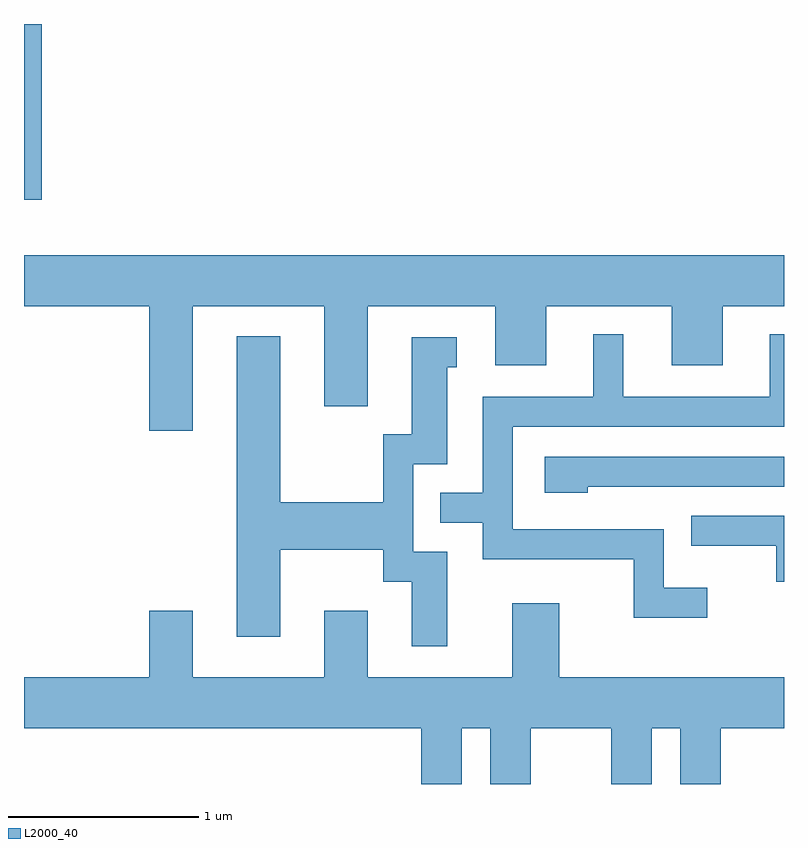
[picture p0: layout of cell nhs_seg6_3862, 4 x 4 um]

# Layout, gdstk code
import gdstk
lib = gdstk.Library(unit=1e-6, precision=1e-09)
def R(c, l, rs):  # rectangles x0, y0, x1, y1
    for r in rs: c.add(gdstk.rectangle(r[:2], r[2:], *l))
def P(c, l, *ps):  # polygons
    for p in ps: c.add(gdstk.Polygon(p, *l))
L2000_40 = (2000, 40)

nhs_seg6_3862 = lib.new_cell('nhs_seg6_3862')
R(nhs_seg6_3862, L2000_40, [(301.611,1577.236,301.704,1578.162)])
P(nhs_seg6_3862, L2000_40, [(302.499,1576.676),(303.191,1576.676),(303.191,1576.151),(303.419,1576.151),(303.419,1576.676),(304.091,1576.676),(304.091,1576.366),(304.359,1576.366),(304.359,1576.676),(305.021,1576.676),(305.021,1576.366),(305.289,1576.366),(305.289,1576.676),(305.611,1576.676),(305.611,1576.944),(301.611,1576.944),(301.611,1576.676),(302.271,1576.676),(302.271,1576.021),(302.499,1576.021)],
  [(305.208,1575.194),(304.979,1575.194),(304.979,1575.504),(304.184,1575.504),(304.184,1576.041),(305.611,1576.041),(305.611,1576.528),(305.536,1576.528),(305.536,1576.199),(304.764,1576.199),(304.764,1576.528),(304.606,1576.528),(304.606,1576.199),(304.026,1576.199),(304.026,1575.694),(303.803,1575.694),(303.803,1575.536),(304.026,1575.536),(304.026,1575.346),(304.821,1575.346),(304.821,1575.036),(305.208,1575.036)],
  [(303.839,1575.384),(303.659,1575.384),(303.659,1575.846),(303.839,1575.846),(303.839,1576.356),(303.888,1576.356),(303.888,1576.514),(303.651,1576.514),(303.651,1576.004),(303.501,1576.004),(303.501,1575.644),(302.959,1575.644),(302.959,1576.519),(302.731,1576.519),(302.731,1574.936),(302.959,1574.936),(302.959,1575.396),(303.501,1575.396),(303.501,1575.226),(303.651,1575.226),(303.651,1574.886),(303.839,1574.886)],
  [(304.579,1575.726),(305.611,1575.726),(305.611,1575.884),(304.351,1575.884),(304.351,1575.696),(304.579,1575.696)],
  [(305.611,1575.574),(305.123,1575.574),(305.123,1575.416),(305.571,1575.416),(305.571,1575.226),(305.611,1575.226)],
  [(303.914,1574.456),(304.066,1574.456),(304.066,1574.162),(304.279,1574.162),(304.279,1574.456),(304.701,1574.456),(304.701,1574.162),(304.914,1574.162),(304.914,1574.456),(305.066,1574.456),(305.066,1574.162),(305.279,1574.162),(305.279,1574.456),(305.611,1574.456),(305.611,1574.724),(304.429,1574.724),(304.429,1575.114),(304.181,1575.114),(304.181,1574.724),(303.419,1574.724),(303.419,1575.074),(303.191,1575.074),(303.191,1574.724),(302.499,1574.724),(302.499,1575.074),(302.271,1575.074),(302.271,1574.724),(301.611,1574.724),(301.611,1574.456),(303.701,1574.456),(303.701,1574.162),(303.914,1574.162)])

lib.write_gds('nhs_seg6_3862.gds')
